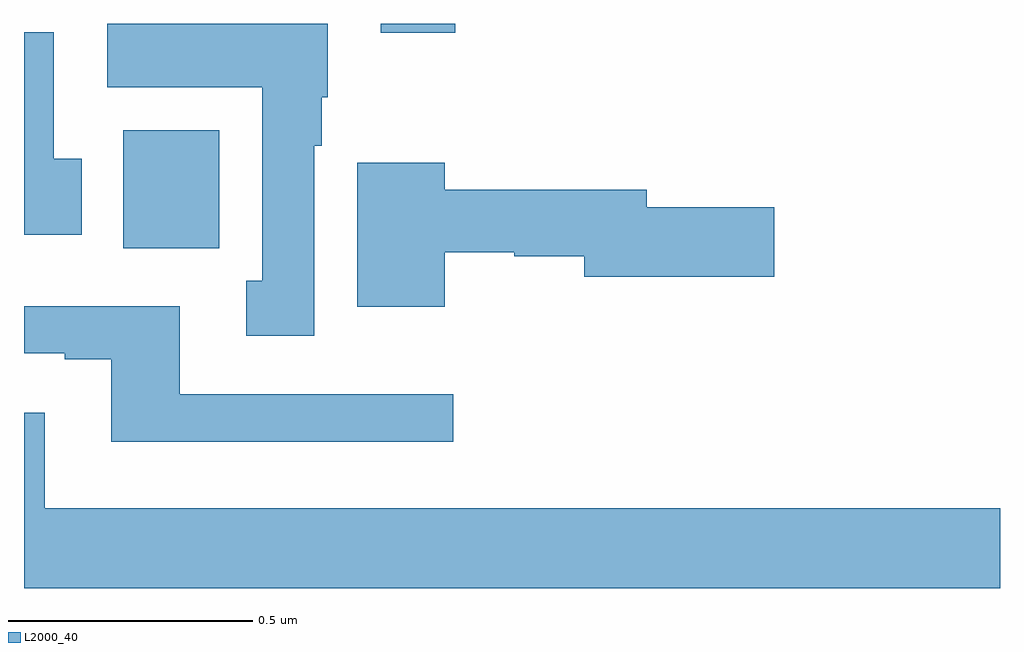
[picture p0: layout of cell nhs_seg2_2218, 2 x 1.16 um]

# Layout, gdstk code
import gdstk
lib = gdstk.Library(unit=1e-6, precision=1e-09)
def R(c, l, rs):  # rectangles x0, y0, x1, y1
    for r in rs: c.add(gdstk.rectangle(r[:2], r[2:], *l))
def P(c, l, *ps):  # polygons
    for p in ps: c.add(gdstk.Polygon(p, *l))
L2000_40 = (2000, 40)

nhs_seg2_2218 = lib.new_cell('nhs_seg2_2218')
R(nhs_seg2_2218, L2000_40, [(138.203,640.34,138.4,640.582), (138.731,640.782,138.884,640.8)])
P(nhs_seg2_2218, L2000_40, [(138.595,640.55),(138.61,640.55),(138.61,640.65),(138.622,640.65),(138.622,640.8),(138.171,640.8),(138.171,640.67),(138.488,640.67),(138.488,640.274),(138.455,640.274),(138.455,640.161),(138.595,640.161)],
  [(138.118,640.524),(138.061,640.524),(138.061,640.783),(138,640.783),(138,640.368),(138.118,640.368)],
  [(138.862,640.332),(139.005,640.332),(139.005,640.324),(139.148,640.324),(139.148,640.282),(139.537,640.282),(139.537,640.424),(139.276,640.424),(139.276,640.46),(138.862,640.46),(138.862,640.516),(138.683,640.516),(138.683,640.22),(138.862,640.22)],
  [(138.88,640.041),(138.319,640.041),(138.319,640.222),(138,640.222),(138,640.125),(138.083,640.125),(138.083,640.113),(138.179,640.113),(138.179,639.944),(138.88,639.944)],
  [(140,639.808),(138.043,639.808),(138.043,640.003),(138,640.003),(138,639.644),(140,639.644)])

lib.write_gds('nhs_seg2_2218.gds')
